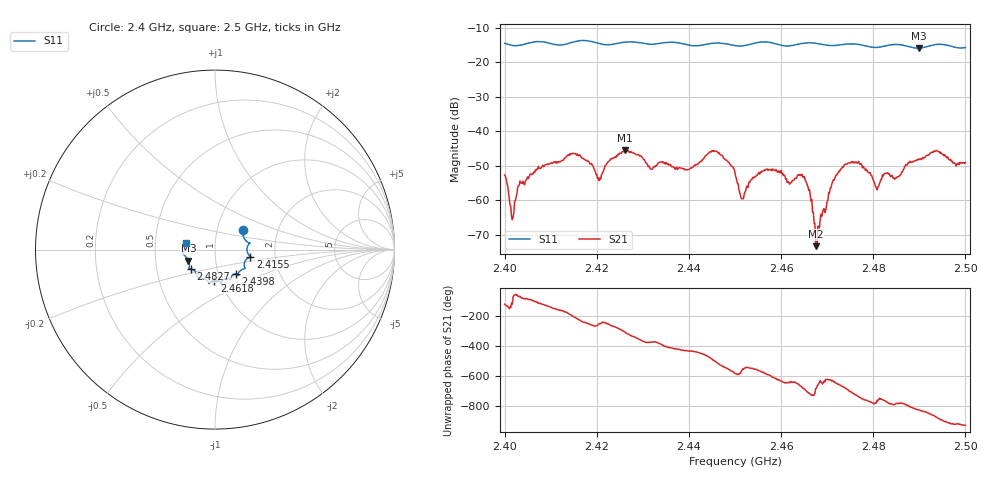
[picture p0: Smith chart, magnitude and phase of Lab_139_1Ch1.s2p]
# Hz S RI R 50
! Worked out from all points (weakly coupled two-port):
!   601 points, 2.4 GHz to 2.5 GHz, reference 50 ohm
!   highest |S21| = -45.54 dB at 2.4262 GHz (marker M1); lowest = -73.4 dB at 2.4675 GHz (marker M2)
!   lowest |S11| = -15.9 dB at 2.4898 GHz (marker M3), VSWR 1.38, Z = 36.9 - j4.65 ohm
!   |S11| at or under -10 dB: start of sweep to end of sweep
!   S12 and S22 are empty: the file has one direction only
!   S11 on the Smith chart (normalised r, x): 2.4 GHz: 1.33, +0.29; 2.4155 GHz: 1.49, -0.12; 2.4398 GHz: 1.21, -0.34; 2.4618 GHz: 0.94, -0.33; 2.4827 GHz: 0.75, -0.17; 2.5 GHz: 0.72, +0.06
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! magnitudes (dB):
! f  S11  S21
! 2.4 GHz  -14.5  -52.7
! 2.4017 GHz  -15.1  -65.7
! 2.4035 GHz  -15.0  -55.0
! 2.4155 GHz  -13.9  -46.6
! 2.4167 GHz  -13.7  -47.7
! 2.4205 GHz  -14.6  -54.4
! 2.4262 GHz  -14.1  -45.5
! 2.4333 GHz  -14.6  -49.2
! 2.4398 GHz  -15.0  -51.1
! 2.4455 GHz  -14.4  -45.7
! 2.45 GHz  -15.2  -52.1
! 2.4515 GHz  -15.3  -59.6
! 2.4565 GHz  -14.1  -51.4
! 2.4618 GHz  -15.2  -55.4
! 2.4647 GHz  -14.5  -53.1
! 2.4667 GHz  -14.4  -59.8
! 2.4675 GHz  -14.5  -73.4
! 2.4737 GHz  -14.8  -49.9
! 2.4827 GHz  -15.2  -52.2
! 2.4833 GHz  -15.0  -52.5
! 2.4898 GHz  -15.9  -48.0
! 2.5 GHz  -15.7  -49.1
